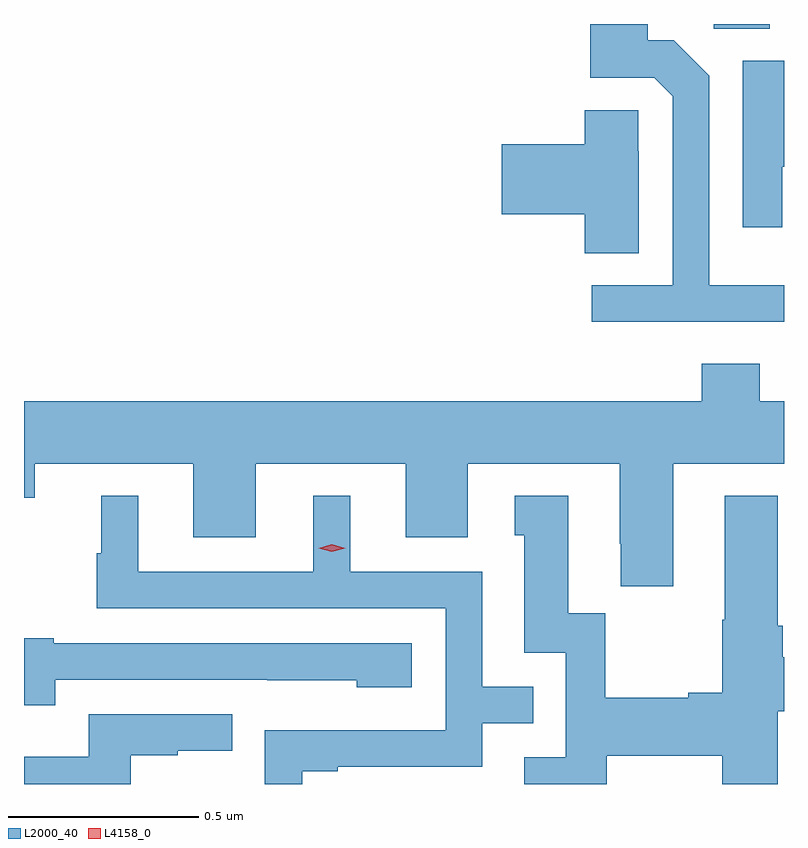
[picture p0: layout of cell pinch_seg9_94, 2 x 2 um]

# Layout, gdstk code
import gdstk
lib = gdstk.Library(unit=1e-6, precision=1e-09)
def R(c, l, rs):  # rectangles x0, y0, x1, y1
    for r in rs: c.add(gdstk.rectangle(r[:2], r[2:], *l))
def P(c, l, *ps):  # polygons
    for p in ps: c.add(gdstk.Polygon(p, *l))
L2000_40 = (2000, 40)
L4158_0 = (4158, 0)

pinch_seg9_94 = lib.new_cell('pinch_seg9_94')
R(pinch_seg9_94, L2000_40, [(1057.242,1192.237,1057.389,1192.249)])
P(pinch_seg9_94, L2000_40, [(1057.427,1191.562),(1057.23,1191.562),(1057.23,1192.113),(1057.137,1192.206),(1057.069,1192.206),(1057.069,1192.249),(1056.917,1192.249),(1056.917,1192.107),(1057.086,1192.107),(1057.134,1192.059),(1057.134,1191.561),(1056.921,1191.561),(1056.921,1191.465),(1057.427,1191.465)],
  [(1057.423,1191.873),(1057.427,1191.873),(1057.427,1192.152),(1057.319,1192.152),(1057.319,1191.714),(1057.423,1191.714)],
  [(1057.045,1191.914),(1057.044,1191.914),(1057.044,1192.022),(1056.902,1192.022),(1056.902,1191.932),(1056.684,1191.932),(1056.684,1191.749),(1056.902,1191.749),(1056.902,1191.646),(1057.045,1191.646)],
  [(1057.135,1191.092),(1057.427,1191.092),(1057.427,1191.256),(1057.363,1191.256),(1057.363,1191.355),(1057.211,1191.355),(1057.211,1191.256),(1055.427,1191.256),(1055.427,1191.002),(1055.455,1191.002),(1055.455,1191.092),(1055.873,1191.092),(1055.873,1190.898),(1056.037,1190.898),(1056.037,1191.092),(1056.431,1191.092),(1056.431,1190.898),(1056.595,1190.898),(1056.595,1191.092),(1056.995,1191.092),(1056.995,1190.881),(1056.998,1190.881),(1056.998,1190.769),(1057.135,1190.769)],
  [(1056.961,1190.324),(1057.264,1190.324),(1057.264,1190.249),(1057.411,1190.249),(1057.411,1190.44),(1057.427,1190.44),(1057.427,1190.582),(1057.424,1190.582),(1057.424,1190.665),(1057.411,1190.665),(1057.411,1191.007),(1057.271,1191.007),(1057.271,1190.681),(1057.264,1190.681),(1057.264,1190.489),(1057.175,1190.489),(1057.175,1190.476),(1056.957,1190.476),(1056.957,1190.699),(1056.859,1190.699),(1056.859,1191.007),(1056.719,1191.007),(1056.719,1190.904),(1056.743,1190.904),(1056.743,1190.595),(1056.852,1190.595),(1056.852,1190.319),(1056.743,1190.319),(1056.743,1190.249),(1056.961,1190.249)],
  [(1056.159,1190.283),(1056.253,1190.283),(1056.253,1190.295),(1056.633,1190.295),(1056.633,1190.409),(1056.767,1190.409),(1056.767,1190.505),(1056.633,1190.505),(1056.633,1190.808),(1056.286,1190.808),(1056.286,1191.007),(1056.188,1191.007),(1056.188,1190.808),(1055.728,1190.808),(1055.728,1191.007),(1055.63,1191.007),(1055.63,1190.856),(1055.619,1190.856),(1055.619,1190.712),(1056.537,1190.712),(1056.537,1190.391),(1056.06,1190.391),(1056.06,1190.249),(1056.159,1190.249)],
  [(1055.509,1190.523),(1056.067,1190.523),(1056.067,1190.522),(1056.303,1190.522),(1056.303,1190.504),(1056.448,1190.504),(1056.448,1190.619),(1055.505,1190.619),(1055.505,1190.632),(1055.427,1190.632),(1055.427,1190.456),(1055.509,1190.456)],
  [(1055.708,1190.325),(1055.831,1190.325),(1055.831,1190.336),(1055.975,1190.336),(1055.975,1190.433),(1055.598,1190.433),(1055.598,1190.321),(1055.427,1190.321),(1055.427,1190.249),(1055.708,1190.249)])
P(pinch_seg9_94, L4158_0, [(1056.237,1190.86),(1056.202,1190.869),(1056.201,1190.87),(1056.202,1190.87),(1056.237,1190.88),(1056.272,1190.87),(1056.273,1190.87),(1056.272,1190.869)])

lib.write_gds('pinch_seg9_94.gds')
